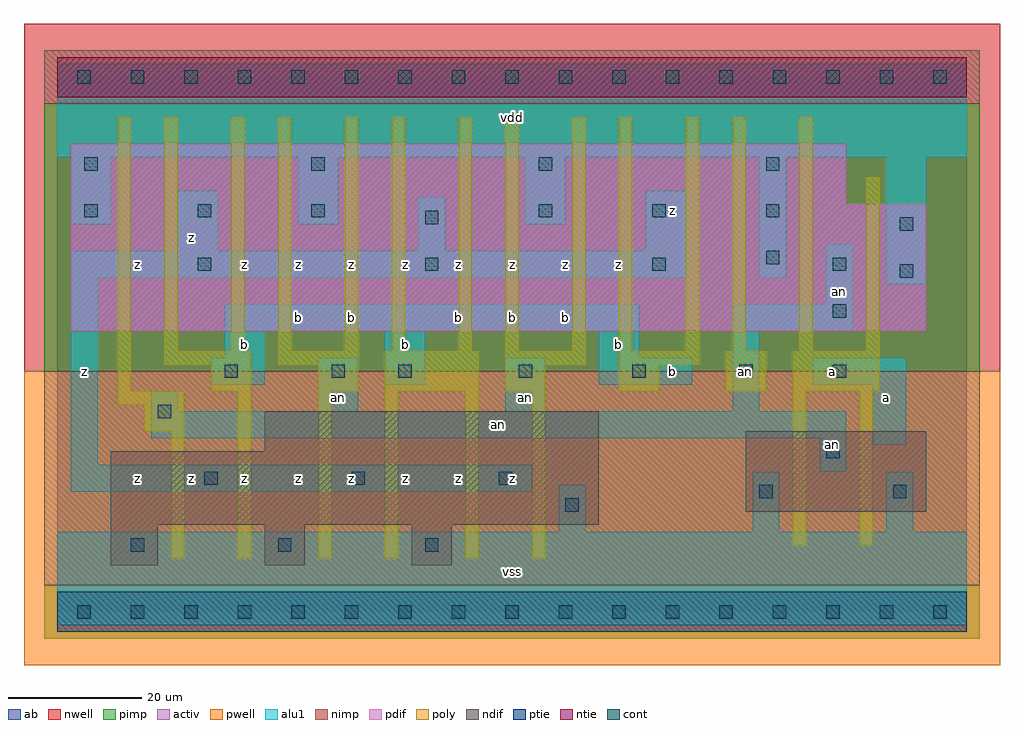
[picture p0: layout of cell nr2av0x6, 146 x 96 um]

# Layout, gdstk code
import gdstk
lib = gdstk.Library(unit=1e-6, precision=1e-09)
def R(c, l, rs):  # rectangles x0, y0, x1, y1
    for r in rs: c.add(gdstk.rectangle(r[:2], r[2:], *l))
def A(c, l, x, y, w, h, nx, ny, dx, dy):  # array of equal rectangles
    R(c, l, [(x+i*dx, y+j*dy, x+i*dx+w, y+j*dy+h) for i in range(nx) for j in range(ny)])
ndif = (3, 0)
pdif = (4, 0)
ntie = (5, 0)
ptie = (6, 0)
cont = (25, 0)
pwell = (41, 0)
nwell = (42, 0)
activ = (43, 0)
pimp = (44, 0)
nimp = (45, 0)
poly = (46, 0)
alu1 = (49, 0)
ab = (63, 0)

nr2av0x6 = lib.new_cell('nr2av0x6')
R(nr2av0x6, ndif, [(8,7,15,13), (31,7,37,13), (53,7,59,13), (8,13,81,24), (103,15,130,27), (31,24,81,30)])
R(nr2av0x6, pdif, [(2,42,130,61), (2,61,118,70)])
R(nr2av0x6, ntie, [(0,77,136,83)])
R(nr2av0x6, ptie, [(0,-3,136,3)])
A(nr2av0x6, cont, 3, -1, 2, 2, 17, 2, 8, 80)
A(nr2av0x6, cont, 11, 9, 2, 2, 3, 1, 22, 0)
A(nr2av0x6, cont, 22, 19, 2, 2, 3, 1, 22, 0)
A(nr2av0x6, cont, 21, 51, 2, 2, 3, 1, 34, 0)
A(nr2av0x6, cont, 4, 59, 2, 2, 3, 1, 17, 0)
A(nr2av0x6, cont, 72, 59, 2, 2, 3, 1, 17, 0)
A(nr2av0x6, cont, 4, 66, 2, 2, 4, 1, 34, 0)
R(nr2av0x6, cont, [(76,15,78,17), (105,17,107,19), (125,17,127,19), (115,23,117,25), (15,29,17,31), (25,35,27,37), (41,35,43,37), (51,35,53,37), (69,35,71,37), (86,35,88,37), (102,35,104,37), (116,35,118,37), (116,44,118,46), (126,50,128,52), (116,51,118,53), (106,52,108,54), (126,57,128,59), (55,58,57,60)])
R(nr2av0x6, pwell, [(-5,-8,141,36)])
R(nr2av0x6, nwell, [(-5,36,141,88)])
R(nr2av0x6, activ, [(0,-3,136,3), (8,7,15,13), (31,7,37,13), (53,7,59,13), (8,13,81,24), (103,15,130,27), (31,24,81,30), (2,42,130,61), (2,61,118,70), (0,77,136,83)])
R(nr2av0x6, pimp, [(-2,-4,138,4), (-2,36,138,76)])
R(nr2av0x6, nimp, [(-2,4,138,36), (-2,76,138,84)])
R(nr2av0x6, poly, [(17,8,19,27), (27,8,29,33), (39,8,41,33), (49,8,51,33), (61,8,63,33), (71,8,73,33), (110,10,112,33), (120,10,122,33), (13,27,19,31), (9,31,19,33), (9,33,11,74), (23,33,29,37), (39,33,45,37), (49,33,63,39), (67,33,73,37), (84,33,90,37), (100,33,106,39), (110,33,123,39), (16,37,29,39), (33,37,45,39), (67,37,79,39), (84,37,96,39), (16,39,18,74), (26,39,28,74), (33,39,35,74), (43,39,45,74), (50,39,52,74), (60,39,62,74), (67,39,69,74), (77,39,79,74), (84,39,86,74), (94,39,96,74), (101,39,103,74), (111,39,113,74), (121,39,123,65)])
A(nr2av0x6, alu1, 2, 58, 6, 10, 3, 1, 34, 0)
R(nr2av0x6, alu1, [(0,-2,136,12), (75,12,79,19), (104,12,108,21), (124,12,128,21), (2,18,71,22), (114,21,118,26), (2,22,6,50), (122,25,127,34), (14,26,118,30), (14,30,18,33), (39,30,45,38), (67,30,73,38), (101,30,105,42), (23,34,31,38), (49,34,55,42), (81,34,95,38), (113,34,127,38), (25,38,31,42), (81,38,87,42), (25,42,87,46), (101,42,119,46), (115,46,119,55), (124,49,130,68), (2,50,94,54), (105,50,109,68), (18,54,24,63), (54,54,58,62), (88,54,94,63), (0,68,136,82)])
R(nr2av0x6, ab, [(0,0,136,80)])
nr2av0x6.add(gdstk.Label('an', (42,32), layer=49, texttype=0))
nr2av0x6.add(gdstk.Label('an', (70,32), layer=49, texttype=0))
nr2av0x6.add(gdstk.Label('an', (103,36), layer=49, texttype=0))
nr2av0x6.add(gdstk.Label('an', (66,28), layer=49, texttype=0))
nr2av0x6.add(gdstk.Label('an', (116,25), layer=49, texttype=0))
nr2av0x6.add(gdstk.Label('an', (117,48), layer=49, texttype=0))
nr2av0x6.add(gdstk.Label('z', (12,20), layer=49, texttype=0))
nr2av0x6.add(gdstk.Label('z', (20,20), layer=49, texttype=0))
nr2av0x6.add(gdstk.Label('z', (4,36), layer=49, texttype=0))
nr2av0x6.add(gdstk.Label('z', (12,52), layer=49, texttype=0))
nr2av0x6.add(gdstk.Label('z', (20,56), layer=49, texttype=0))
nr2av0x6.add(gdstk.Label('z', (28,20), layer=49, texttype=0))
nr2av0x6.add(gdstk.Label('z', (36,20), layer=49, texttype=0))
nr2av0x6.add(gdstk.Label('z', (44,20), layer=49, texttype=0))
nr2av0x6.add(gdstk.Label('b', (28,40), layer=49, texttype=0))
nr2av0x6.add(gdstk.Label('b', (36,44), layer=49, texttype=0))
nr2av0x6.add(gdstk.Label('b', (44,44), layer=49, texttype=0))
nr2av0x6.add(gdstk.Label('z', (36,52), layer=49, texttype=0))
nr2av0x6.add(gdstk.Label('z', (44,52), layer=49, texttype=0))
nr2av0x6.add(gdstk.Label('z', (28,52), layer=49, texttype=0))
nr2av0x6.add(gdstk.Label('vss', (68,6), layer=49, texttype=0))
nr2av0x6.add(gdstk.Label('z', (52,20), layer=49, texttype=0))
nr2av0x6.add(gdstk.Label('z', (60,20), layer=49, texttype=0))
nr2av0x6.add(gdstk.Label('z', (68,20), layer=49, texttype=0))
nr2av0x6.add(gdstk.Label('b', (52,40), layer=49, texttype=0))
nr2av0x6.add(gdstk.Label('b', (60,44), layer=49, texttype=0))
nr2av0x6.add(gdstk.Label('b', (68,44), layer=49, texttype=0))
nr2av0x6.add(gdstk.Label('b', (76,44), layer=49, texttype=0))
nr2av0x6.add(gdstk.Label('z', (60,52), layer=49, texttype=0))
nr2av0x6.add(gdstk.Label('z', (68,52), layer=49, texttype=0))
nr2av0x6.add(gdstk.Label('z', (76,52), layer=49, texttype=0))
nr2av0x6.add(gdstk.Label('z', (52,52), layer=49, texttype=0))
nr2av0x6.add(gdstk.Label('vdd', (68,74), layer=49, texttype=0))
nr2av0x6.add(gdstk.Label('b', (84,40), layer=49, texttype=0))
nr2av0x6.add(gdstk.Label('b', (92,36), layer=49, texttype=0))
nr2av0x6.add(gdstk.Label('z', (84,52), layer=49, texttype=0))
nr2av0x6.add(gdstk.Label('z', (92,60), layer=49, texttype=0))
nr2av0x6.add(gdstk.Label('a', (124,32), layer=49, texttype=0))
nr2av0x6.add(gdstk.Label('a', (116,36), layer=49, texttype=0))

lib.write_gds('nr2av0x6.gds')
